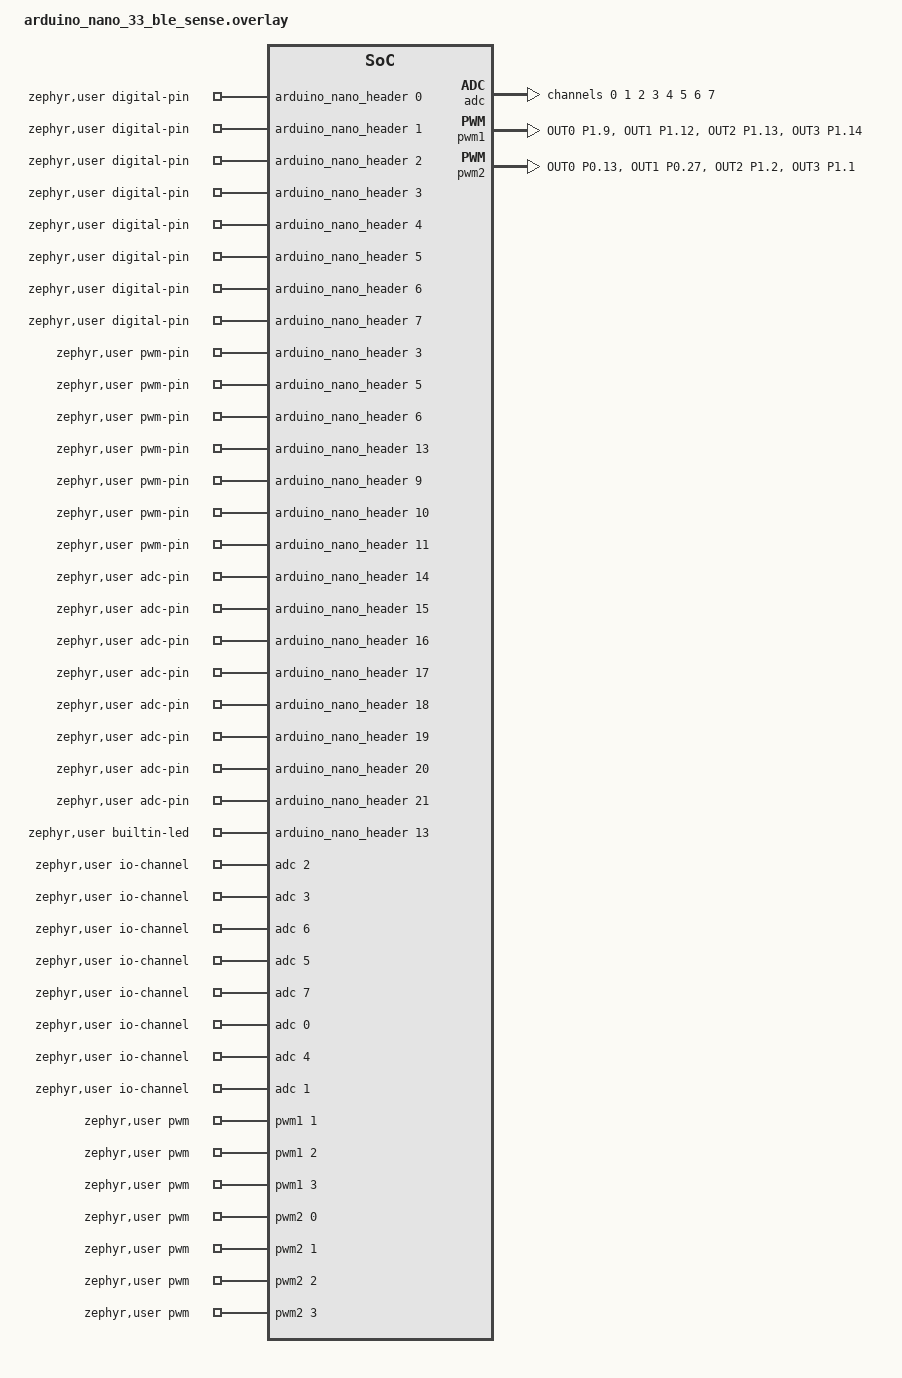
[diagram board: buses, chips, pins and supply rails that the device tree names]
/ {
	zephyr,user {
		digital-pin-gpios = <&arduino_nano_header 0 0>,
				    <&arduino_nano_header 1 0>,
				    <&arduino_nano_header 2 0>,
				    <&arduino_nano_header 3 0>,
				    <&arduino_nano_header 4 0>,
				    <&arduino_nano_header 5 0>,
				    <&arduino_nano_header 6 0>,
				    <&arduino_nano_header 7 0>,
				    <&arduino_nano_header 8 0>,
				    <&arduino_nano_header 9 0>,
				    <&arduino_nano_header 10 0>,
				    <&arduino_nano_header 11 0>,
				    <&arduino_nano_header 12 0>,
				    <&arduino_nano_header 13 0>,
				    <&arduino_nano_header 14 0>, /* D14 / A0 */
				    <&arduino_nano_header 15 0>,
				    <&arduino_nano_header 16 0>,
				    <&arduino_nano_header 17 0>,
				    <&arduino_nano_header 18 0>, /* D18 / A4 / I2C-SDA */
				    <&arduino_nano_header 19 0>, /* D19 / A5 / I2C-SCL */
				    <&arduino_nano_header 20 0>,
				    <&arduino_nano_header 21 0>;

		pwm-pin-gpios =	    <&arduino_nano_header 3 0>,
				    <&arduino_nano_header 5 0>,
				    <&arduino_nano_header 6 0>,
				    <&arduino_nano_header 13 0>,
				    <&arduino_nano_header 9 0>,
				    <&arduino_nano_header 10 0>,
				    <&arduino_nano_header 11 0>;

		adc-pin-gpios =	    <&arduino_nano_header 14 0>,
				    <&arduino_nano_header 15 0>,
				    <&arduino_nano_header 16 0>,
				    <&arduino_nano_header 17 0>,
				    <&arduino_nano_header 18 0>,
				    <&arduino_nano_header 19 0>,
				    <&arduino_nano_header 20 0>,
				    <&arduino_nano_header 21 0>;

		builtin-led-gpios = <&arduino_nano_header 13 0>;

		pwms =	<&pwm1 1 255 PWM_POLARITY_NORMAL>,
			<&pwm1 2 255 PWM_POLARITY_NORMAL>,
			<&pwm1 3 255 PWM_POLARITY_NORMAL>,
			<&pwm2 0 255 PWM_POLARITY_NORMAL>,
			<&pwm2 1 255 PWM_POLARITY_NORMAL>,
			<&pwm2 2 255 PWM_POLARITY_NORMAL>,
			<&pwm2 3 255 PWM_POLARITY_NORMAL>;

		io-channels =	<&adc 2>,
				<&adc 3>,
				<&adc 6>,
				<&adc 5>,
				<&adc 7>,
				<&adc 0>,
				<&adc 4>,
				<&adc 1>;

		serials = <&uart0>;
		i2cs = <&arduino_nano_i2c>;
	};
};

&adc {
	#address-cells = <1>;
	#size-cells = <0>;

	channel@0 {
		reg = <0>;
		zephyr,gain = "ADC_GAIN_1_6";
		zephyr,reference = "ADC_REF_INTERNAL";
		zephyr,acquisition-time = <ADC_ACQ_TIME_DEFAULT>;
		zephyr,input-positive = <NRF_SAADC_AIN0>; /* P0.02 */
		zephyr,resolution = <10>;
	};

	channel@1 {
		reg = <1>;
		zephyr,gain = "ADC_GAIN_1_6";
		zephyr,reference = "ADC_REF_INTERNAL";
		zephyr,acquisition-time = <ADC_ACQ_TIME_DEFAULT>;
		zephyr,input-positive = <NRF_SAADC_AIN1>; /* P0.03 */
		zephyr,resolution = <10>;
	};

	channel@2 {
		reg = <2>;
		zephyr,gain = "ADC_GAIN_1_6";
		zephyr,reference = "ADC_REF_INTERNAL";
		zephyr,acquisition-time = <ADC_ACQ_TIME_DEFAULT>;
		zephyr,input-positive = <NRF_SAADC_AIN2>; /* P0.04 */
		zephyr,resolution = <10>;
	};

	channel@3 {
		reg = <3>;
		zephyr,gain = "ADC_GAIN_1_6";
		zephyr,reference = "ADC_REF_INTERNAL";
		zephyr,acquisition-time = <ADC_ACQ_TIME_DEFAULT>;
		zephyr,input-positive = <NRF_SAADC_AIN3>; /* P0.05 */
		zephyr,resolution = <10>;
	};

	channel@4 {
		reg = <4>;
		zephyr,gain = "ADC_GAIN_1_6";
		zephyr,reference = "ADC_REF_INTERNAL";
		zephyr,acquisition-time = <ADC_ACQ_TIME_DEFAULT>;
		zephyr,input-positive = <NRF_SAADC_AIN4>; /* P0.28 */
		zephyr,resolution = <10>;
	};

	channel@5 {
		reg = <5>;
		zephyr,gain = "ADC_GAIN_1_6";
		zephyr,reference = "ADC_REF_INTERNAL";
		zephyr,acquisition-time = <ADC_ACQ_TIME_DEFAULT>;
		zephyr,input-positive = <NRF_SAADC_AIN5>; /* P0.29 */
		zephyr,resolution = <10>;
	};

	channel@6 {
		reg = <6>;
		zephyr,gain = "ADC_GAIN_1_6";
		zephyr,reference = "ADC_REF_INTERNAL";
		zephyr,acquisition-time = <ADC_ACQ_TIME_DEFAULT>;
		zephyr,input-positive = <NRF_SAADC_AIN6>; /* P0.30 */
		zephyr,resolution = <10>;
	};

	channel@7 {
		reg = <7>;
		zephyr,gain = "ADC_GAIN_1_6";
		zephyr,reference = "ADC_REF_INTERNAL";
		zephyr,acquisition-time = <ADC_ACQ_TIME_DEFAULT>;
		zephyr,input-positive = <NRF_SAADC_AIN7>; /* P0.31 */
		zephyr,resolution = <10>;
	};
};

&pinctrl {
	pwm1_default: pwm1_default {
		group1 {
			psels = <NRF_PSEL(PWM_OUT0, 1, 9)>, /* keep original config */
				<NRF_PSEL(PWM_OUT1, 1, 12)>,
				<NRF_PSEL(PWM_OUT2, 1, 13)>,
				<NRF_PSEL(PWM_OUT3, 1, 14)>;
				nordic,invert;
		};
	};

	pwm1_sleep: pwm1_sleep {
		group1 {
			psels = <NRF_PSEL(PWM_OUT0, 1, 9)>, /* keep original config */
				<NRF_PSEL(PWM_OUT1, 1, 12)>,
				<NRF_PSEL(PWM_OUT2, 1, 13)>,
				<NRF_PSEL(PWM_OUT3, 1, 14)>;
				low-power-enable;
		};
	};

	pwm2_default: pwm2_default {
		group1 {
			psels = <NRF_PSEL(PWM_OUT0, 0, 13)>, /* keep original config */
				<NRF_PSEL(PWM_OUT1, 0, 27)>,
				<NRF_PSEL(PWM_OUT2, 1, 2)>,
				<NRF_PSEL(PWM_OUT3, 1, 1)>;
				nordic,invert;
		};
	};

	pwm2_sleep: pwm2_sleep {
		group1 {
			psels = <NRF_PSEL(PWM_OUT0, 0, 13)>, /* keep original config */
				<NRF_PSEL(PWM_OUT1, 0, 27)>,
				<NRF_PSEL(PWM_OUT2, 1, 2)>,
				<NRF_PSEL(PWM_OUT3, 1, 1)>;
				low-power-enable;
		};
	};
};

&pwm1 {
	status = "okay";
	pinctrl-0 = <&pwm1_default>;
	pinctrl-1 = <&pwm1_sleep>;
	pinctrl-names = "default", "sleep";
};

&pwm2 {
	status = "okay";
	pinctrl-0 = <&pwm2_default>;
	pinctrl-1 = <&pwm2_sleep>;
	pinctrl-names = "default", "sleep";
};
